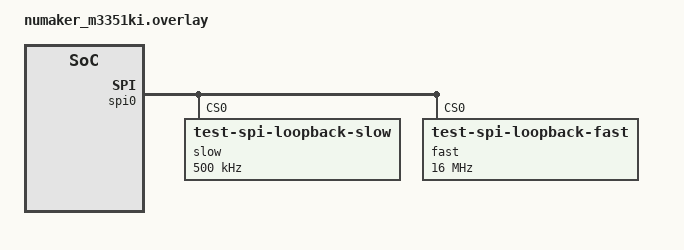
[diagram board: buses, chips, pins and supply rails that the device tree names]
/*
 * Copyright (c) 2026 Nuvoton Technology Corporation.
 *
 * SPDX-License-Identifier: Apache-2.0
 */

&pinctrl {
	/* EVB's UNO D10/D13/D12/D11 map to SS/CLK/MISO/MOSI */
	spi0_default: spi0_default {
		group0 {
			pinmux = <PA3MFP_SPI0_SS>,
				 <PA2MFP_SPI0_CLK>,
				 <PA1MFP_SPI0_MISO>,
				 <PA0MFP_SPI0_MOSI>;
		};
	};
};

&spi0 {
	slow@0 {
		compatible = "test-spi-loopback-slow";
		reg = <0>;
		spi-max-frequency = <DT_FREQ_K(500)>;
	};

	fast@0 {
		compatible = "test-spi-loopback-fast";
		reg = <0>;
		spi-max-frequency = <DT_FREQ_M(16)>;
	};

	status = "okay";
	pinctrl-0 = <&spi0_default>;
	pinctrl-names = "default";
};
